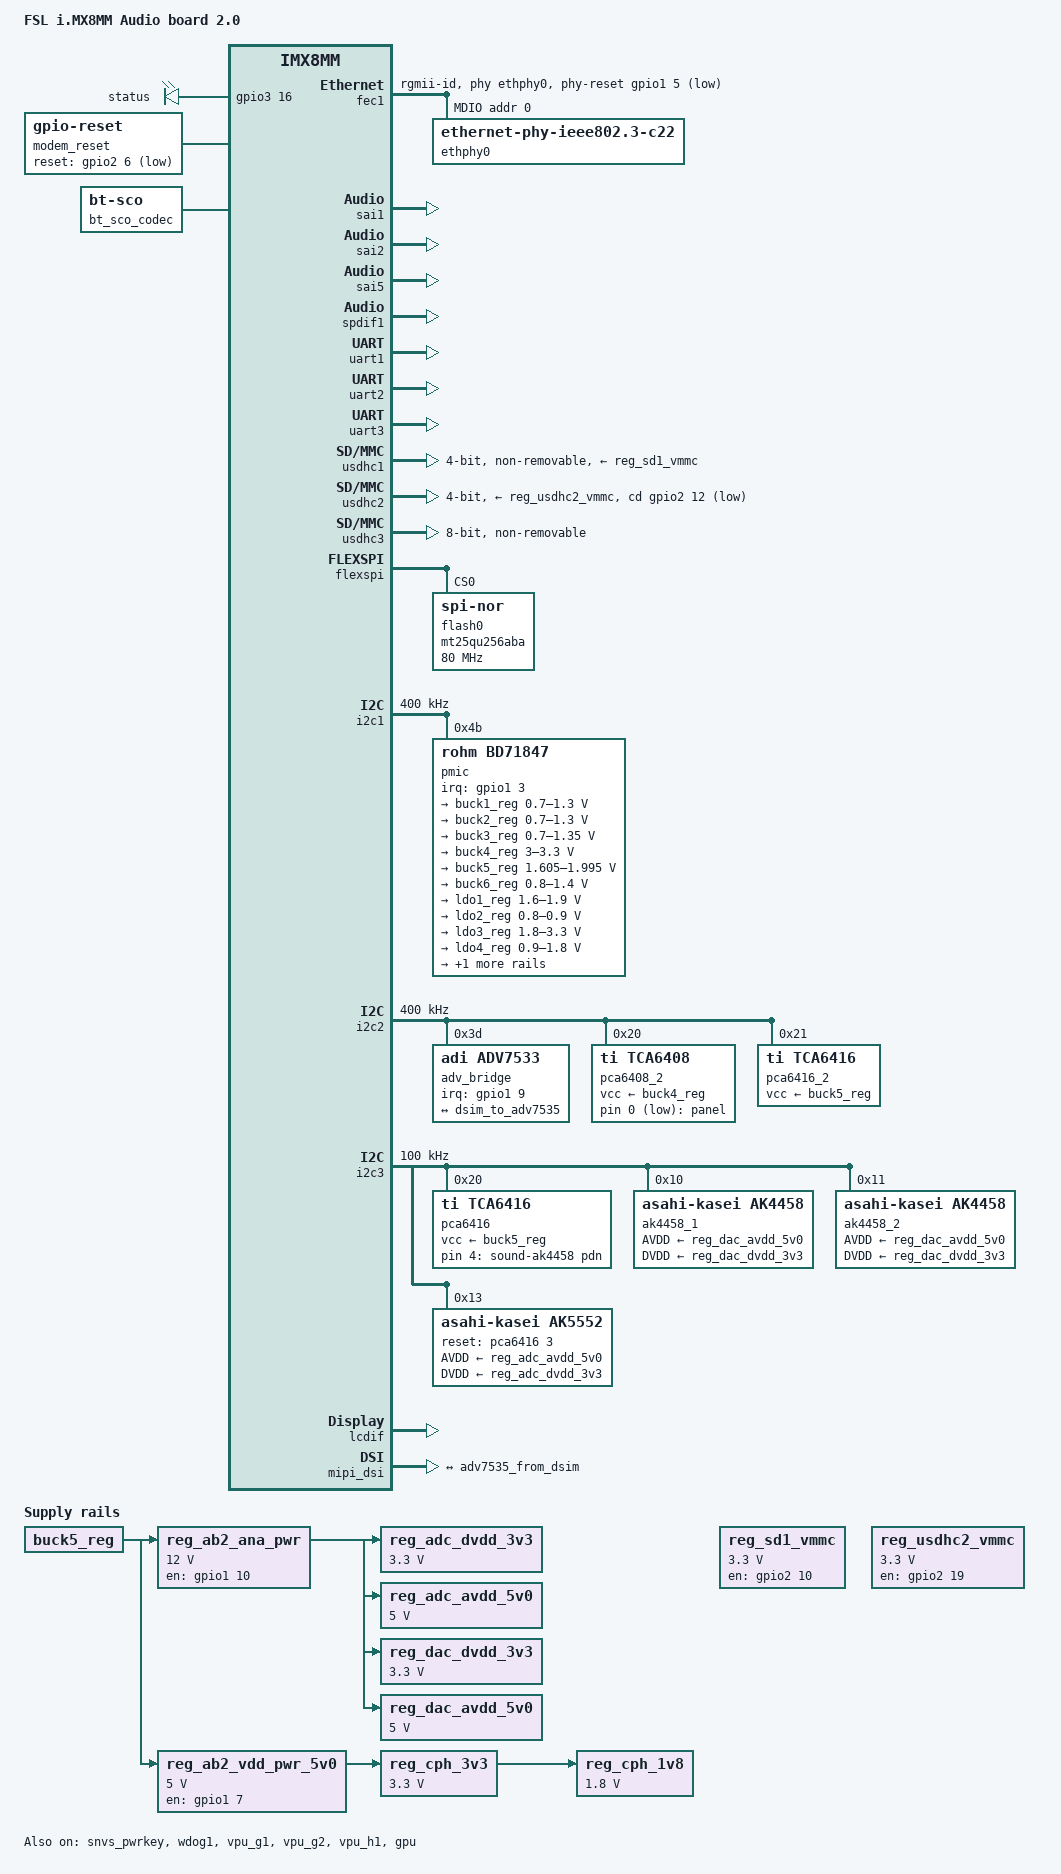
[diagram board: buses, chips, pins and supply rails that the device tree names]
// SPDX-License-Identifier: (GPL-2.0+ OR MIT)
/*
 * Copyright 2020 NXP
 */

/dts-v1/;

#include <dt-bindings/usb/pd.h>
#include "imx8mm.dtsi"

/ {
	model = "FSL i.MX8MM Audio board 2.0";
	compatible = "fsl,imx8mm-ab2", "fsl,imx8mm";

	reserved-memory {
		#address-cells = <2>;
		#size-cells = <2>;
		ranges;

		rpmsg_reserved: rpmsg@0xb8000000 {
			no-map;
			reg = <0 0xb8000000 0 0x400000>;
		};
	};

	chosen {
		stdout-path = &uart2;
	};

	leds {
		compatible = "gpio-leds";
		pinctrl-names = "default";
		pinctrl-0 = <&pinctrl_gpio_led>;

		status {
			label = "status";
			gpios = <&gpio3 16 GPIO_ACTIVE_HIGH>;
			default-state = "on";
		};

		panel {
			label = "panel";
			gpios = <&pca6408_2 0 GPIO_ACTIVE_LOW>;
			default-state = "on";
		};
	};

	modem_reset: modem-reset {
		compatible = "gpio-reset";
		reset-gpios = <&gpio2 6 GPIO_ACTIVE_LOW>;
		reset-delay-us = <2000>;
		reset-post-delay-ms = <40>;
		#reset-cells = <0>;
	};

	reg_sd1_vmmc: sd1_regulator {
		compatible = "regulator-fixed";
		regulator-name = "WLAN_EN";
		regulator-min-microvolt = <3300000>;
		regulator-max-microvolt = <3300000>;
		gpio = <&gpio2 10 GPIO_ACTIVE_HIGH>;
		off-on-delay-us = <20000>;
		startup-delay-us = <100>;
		enable-active-high;
	};

	reg_usdhc2_vmmc: regulator-usdhc2 {
		compatible = "regulator-fixed";
		pinctrl-names = "default";
		pinctrl-0 = <&pinctrl_reg_usdhc2_vmmc>;
		regulator-name = "VSD_3V3";
		regulator-min-microvolt = <3300000>;
		regulator-max-microvolt = <3300000>;
		gpio = <&gpio2 19 GPIO_ACTIVE_HIGH>;
		off-on-delay-us = <20000>;
		enable-active-high;
	};

	reg_ab2_ana_pwr: regulator-ab2-ana-pwr {
		compatible = "regulator-fixed";
		regulator-name = "ANA_12V0";
		pinctrl-names = "default";
		pinctrl-0 = <&pinctrl_ab2_ana_pwr>;
		regulator-min-microvolt = <12000000>;
		regulator-max-microvolt = <12000000>;
		gpio = <&gpio1 10 GPIO_ACTIVE_HIGH>;
		vin-supply = <&buck5_reg>;
		enable-active-high;
	};

	reg_ab2_vdd_pwr_5v0: regulator-ab2-vdd-pwr-5v0 {
		compatible = "regulator-fixed";
		regulator-name = "VDD_5V0";
		pinctrl-names = "default";
		pinctrl-0 = <&pinctrl_ab2_vdd_pwr_5v0>;
		regulator-min-microvolt = <5000000>;
		regulator-max-microvolt = <5000000>;
		gpio = <&gpio1 7 GPIO_ACTIVE_HIGH>;
		vin-supply = <&buck5_reg>;
		enable-active-high;
		regulator-always-on;
		regulator-boot-on;
	};

	reg_adc_dvdd_3v3: reg-adc-dvdd-3v3 {
		compatible = "regulator-fixed";
		regulator-name = "ADC_DVDD_3V3";
		regulator-min-microvolt = <3300000>;
		regulator-max-microvolt = <3300000>;
		vin-supply = <&reg_ab2_ana_pwr>;
	};

	reg_adc_avdd_5v0: reg-adc-avdd-5v0 {
		compatible = "regulator-fixed";
		regulator-name = "ADC_AVDD_5V0";
		regulator-min-microvolt = <5000000>;
		regulator-max-microvolt = <5000000>;
		vin-supply = <&reg_ab2_ana_pwr>;
	};

	reg_dac_dvdd_3v3: reg-dac-dvdd-3v3 {
		compatible = "regulator-fixed";
		regulator-name = "DAC_DVDD_3V3";
		regulator-min-microvolt = <3300000>;
		regulator-max-microvolt = <3300000>;
		vin-supply = <&reg_ab2_ana_pwr>;
	};

	reg_dac_avdd_5v0: reg-dac-avdd-5v0 {
		compatible = "regulator-fixed";
		regulator-name = "DAC_AVDD_5V0";
		regulator-min-microvolt = <5000000>;
		regulator-max-microvolt = <5000000>;
		vin-supply = <&reg_ab2_ana_pwr>;
	};

	reg_cph_3v3: reg-cph-3v3 {
		compatible = "regulator-fixed";
		regulator-name = "CPH_3V3";
		regulator-min-microvolt = <3300000>;
		regulator-max-microvolt = <3300000>;
		vin-supply = <&reg_ab2_vdd_pwr_5v0>;
	};

	reg_cph_1v8: reg-cph-1v8 {
		compatible = "regulator-fixed";
		regulator-name = "CPH_1V8";
		regulator-min-microvolt = <1800000>;
		regulator-max-microvolt = <1800000>;
		vin-supply = <&reg_cph_3v3>;
	};

	bt_sco_codec: bt_sco_codec {
		#sound-dai-cells = <0>;
		compatible = "linux,bt-sco";
	};

	sound-bt-sco {
		compatible = "simple-audio-card";
		simple-audio-card,name = "bt-sco-audio";
		simple-audio-card,format = "i2s";
		simple-audio-card,bitclock-inversion;
		simple-audio-card,frame-master = <&btcpu>;
		simple-audio-card,bitclock-master = <&btcpu>;

		btcpu: simple-audio-card,cpu {
			sound-dai = <&sai2>;
			dai-tdm-slot-num = <2>;
			dai-tdm-slot-width = <16>;
		};

		simple-audio-card,codec {
			sound-dai = <&bt_sco_codec>;
		};
	};

	sound-ak4458 {
		compatible = "fsl,imx-audio-ak4458";
		model = "ak4458-audio";
		audio-cpu = <&sai1>;
		audio-codec = <&ak4458_1>, <&ak4458_2>;
		ak4458,pdn-gpio = <&pca6416 4 GPIO_ACTIVE_HIGH>;
	};

	sound-ak5552 {
		compatible = "fsl,imx-audio-ak5552";
		model = "ak5552-audio";
		audio-cpu = <&sai5>;
		audio-codec = <&ak5552>;
	};

	sound-spdif {
		compatible = "fsl,imx-audio-spdif";
		model = "imx-spdif";
		spdif-controller = <&spdif1>;
		spdif-out;
		spdif-in;
	};
};

&A53_0 {
	cpu-supply = <&buck2_reg>;
};

&fec1 {
	pinctrl-names = "default";
	pinctrl-0 = <&pinctrl_fec1>;
	phy-mode = "rgmii-id";
	phy-handle = <&ethphy0>;
	phy-reset-gpios = <&gpio1 5 GPIO_ACTIVE_LOW>;
	phy-reset-post-delay = <150>;
	phy-reset-duration = <10>;
	fsl,magic-packet;
	status = "okay";

	mdio {
		#address-cells = <1>;
		#size-cells = <0>;

		ethphy0: ethernet-phy@0 {
			compatible = "ethernet-phy-ieee802.3-c22";
			reg = <0>;
			eee-broken-1000t;
		};
	};
};

&sai1 {
	pinctrl-names = "default", "dsd";
	pinctrl-0 = <&pinctrl_sai1>;
	pinctrl-1 = <&pinctrl_sai1_dsd>;
	assigned-clocks = <&clk IMX8MM_CLK_SAI1>;
	assigned-clock-parents = <&clk IMX8MM_AUDIO_PLL1_OUT>;
	assigned-clock-rates = <49152000>;
	clocks = <&clk IMX8MM_CLK_SAI1_IPG>, <&clk IMX8MM_CLK_DUMMY>,
		<&clk IMX8MM_CLK_SAI1_ROOT>, <&clk IMX8MM_CLK_DUMMY>,
		<&clk IMX8MM_CLK_DUMMY>, <&clk IMX8MM_AUDIO_PLL1_OUT>,
		<&clk IMX8MM_AUDIO_PLL2_OUT>;
	clock-names = "bus", "mclk0", "mclk1", "mclk2", "mclk3", "pll8k", "pll11k";
	fsl,sai-multi-lane;
	fsl,dataline,dsd = <0 0xff 0xff 2 0xff 0x11>;
	dmas = <&sdma2 0 25 0>, <&sdma2 1 25 0>;
	status = "okay";
};

&sai2 {
	#sound-dai-cells = <0>;
	pinctrl-names = "default";
	pinctrl-0 = <&pinctrl_sai2>;
	assigned-clocks = <&clk IMX8MM_CLK_SAI2>;
	assigned-clock-parents = <&clk IMX8MM_AUDIO_PLL1_OUT>;
	assigned-clock-rates = <24576000>;
	status = "okay";
};

&sai3 {
	pinctrl-names = "default";
	pinctrl-0 = <&pinctrl_sai3>;
	assigned-clocks = <&clk IMX8MM_CLK_SAI3>;
	assigned-clock-parents = <&clk IMX8MM_AUDIO_PLL1_OUT>;
	assigned-clock-rates = <49152000>;
	clocks = <&clk IMX8MM_CLK_SAI3_IPG>, <&clk IMX8MM_CLK_DUMMY>,
		<&clk IMX8MM_CLK_SAI3_ROOT>, <&clk IMX8MM_CLK_DUMMY>,
		<&clk IMX8MM_CLK_DUMMY>, <&clk IMX8MM_AUDIO_PLL1_OUT>,
		<&clk IMX8MM_AUDIO_PLL2_OUT>;
	clock-names = "bus", "mclk0", "mclk1", "mclk2", "mclk3", "pll8k", "pll11k";
	status = "disabled";
};

&sai5 {
	pinctrl-names = "default";
	pinctrl-0 = <&pinctrl_sai5>;
	assigned-clocks = <&clk IMX8MM_CLK_SAI5>;
	assigned-clock-parents = <&clk IMX8MM_AUDIO_PLL1_OUT>;
	assigned-clock-rates = <49152000>;
	clocks = <&clk IMX8MM_CLK_SAI5_IPG>, <&clk IMX8MM_CLK_DUMMY>,
		<&clk IMX8MM_CLK_SAI5_ROOT>, <&clk IMX8MM_CLK_DUMMY>,
		<&clk IMX8MM_CLK_DUMMY>, <&clk IMX8MM_AUDIO_PLL1_OUT>,
		<&clk IMX8MM_AUDIO_PLL2_OUT>;
	clock-names = "bus", "mclk0", "mclk1", "mclk2", "mclk3", "pll8k", "pll11k";
	fsl,sai-asynchronous;
	status = "okay";
};

&spdif1 {
	pinctrl-names = "default";
	pinctrl-0 = <&pinctrl_spdif1>;
	assigned-clocks = <&clk IMX8MM_CLK_SPDIF1>;
	assigned-clock-parents = <&clk IMX8MM_AUDIO_PLL1_OUT>;
	assigned-clock-rates = <24576000>;
	clocks = <&clk IMX8MM_CLK_AUDIO_AHB>, <&clk IMX8MM_CLK_24M>,
		<&clk IMX8MM_CLK_SPDIF1>, <&clk IMX8MM_CLK_DUMMY>,
		<&clk IMX8MM_CLK_DUMMY>, <&clk IMX8MM_CLK_DUMMY>,
		<&clk IMX8MM_CLK_AUDIO_AHB>, <&clk IMX8MM_CLK_DUMMY>,
		<&clk IMX8MM_CLK_DUMMY>, <&clk IMX8MM_CLK_DUMMY>,
		<&clk IMX8MM_AUDIO_PLL1_OUT>, <&clk IMX8MM_AUDIO_PLL2_OUT>;
	clock-names = "core", "rxtx0", "rxtx1", "rxtx2", "rxtx3",
		"rxtx4", "rxtx5", "rxtx6", "rxtx7", "spba", "pll8k", "pll11k";
	status = "okay";
};

&snvs_pwrkey {
	status = "okay";
};

&uart1 { /* BT */
	pinctrl-names = "default";
	pinctrl-0 = <&pinctrl_uart1>;
	assigned-clocks = <&clk IMX8MM_CLK_UART1>;
	assigned-clock-parents = <&clk IMX8MM_SYS_PLL1_80M>;
	fsl,uart-has-rtscts;
	resets = <&modem_reset>;
	status = "okay";
};

&uart2 { /* console */
	pinctrl-names = "default";
	pinctrl-0 = <&pinctrl_uart2>;
	status = "okay";
};

&uart3 {
	pinctrl-names = "default";
	pinctrl-0 = <&pinctrl_uart3>;
	assigned-clocks = <&clk IMX8MM_CLK_UART3>;
	assigned-clock-parents = <&clk IMX8MM_SYS_PLL1_80M>;
	fsl,uart-has-rtscts;
	status = "okay";
};

&usdhc1 {
	pinctrl-names = "default", "state_100mhz", "state_200mhz";
	pinctrl-0 = <&pinctrl_usdhc1>, <&pinctrl_usdhc1_gpio>;
	pinctrl-1 = <&pinctrl_usdhc1_100mhz>, <&pinctrl_usdhc1_gpio>;
	pinctrl-2 = <&pinctrl_usdhc1_200mhz>, <&pinctrl_usdhc1_gpio>;
	bus-width = <4>;
	vmmc-supply = <&reg_sd1_vmmc>;
	pm-ignore-notify;
	keep-power-in-suspend;
	non-removable;
	status = "okay";
};

&usdhc2 {
	pinctrl-names = "default", "state_100mhz", "state_200mhz";
	pinctrl-0 = <&pinctrl_usdhc2>, <&pinctrl_usdhc2_gpio>;
	pinctrl-1 = <&pinctrl_usdhc2_100mhz>, <&pinctrl_usdhc2_gpio>;
	pinctrl-2 = <&pinctrl_usdhc2_200mhz>, <&pinctrl_usdhc2_gpio>;
	cd-gpios = <&gpio2 12 GPIO_ACTIVE_LOW>;
	bus-width = <4>;
	vmmc-supply = <&reg_usdhc2_vmmc>;
	status = "okay";
};

&usdhc3 {
	pinctrl-names = "default", "state_100mhz", "state_200mhz";
	pinctrl-0 = <&pinctrl_usdhc3>;
	pinctrl-1 = <&pinctrl_usdhc3_100mhz>;
	pinctrl-2 = <&pinctrl_usdhc3_200mhz>;
	bus-width = <8>;
	non-removable;
	status = "okay";
};

&wdog1 {
	pinctrl-names = "default";
	pinctrl-0 = <&pinctrl_wdog>;
	fsl,ext-reset-output;
	status = "okay";
};

&flexspi {
	pinctrl-names = "default";
	pinctrl-0 = <&pinctrl_flexspi0>;
	status = "okay";

	flash0: mt25qu256aba@0 {
		reg = <0>;
		#address-cells = <1>;
		#size-cells = <1>;
		compatible = "jedec,spi-nor";
		spi-max-frequency = <80000000>;
		spi-tx-bus-width = <4>;
		spi-rx-bus-width = <4>;
	};
};

&i2c1 {
	clock-frequency = <400000>;
	pinctrl-names = "default";
	pinctrl-0 = <&pinctrl_i2c1>;
	status = "okay";

	pmic@4b {
		compatible = "rohm,bd71847";
		reg = <0x4b>;
		pinctrl-0 = <&pinctrl_pmic>;
		interrupt-parent = <&gpio1>;
		interrupts = <3 GPIO_ACTIVE_LOW>;
		rohm,reset-snvs-powered;

		regulators {
			buck1_reg: BUCK1 {
				regulator-name = "BUCK1";
				regulator-min-microvolt = <700000>;
				regulator-max-microvolt = <1300000>;
				regulator-boot-on;
				regulator-always-on;
				regulator-ramp-delay = <1250>;
			};

			buck2_reg: BUCK2 {
				regulator-name = "BUCK2";
				regulator-min-microvolt = <700000>;
				regulator-max-microvolt = <1300000>;
				regulator-boot-on;
				regulator-always-on;
				regulator-ramp-delay = <1250>;
				rohm,dvs-run-voltage = <1000000>;
				rohm,dvs-idle-voltage = <900000>;
			};

			buck3_reg: BUCK3 {
				// BUCK5 in datasheet
				regulator-name = "BUCK3";
				regulator-min-microvolt = <700000>;
				regulator-max-microvolt = <1350000>;
				regulator-boot-on;
				regulator-always-on;
			};

			buck4_reg: BUCK4 {
				// BUCK6 in datasheet
				regulator-name = "BUCK4";
				regulator-min-microvolt = <3000000>;
				regulator-max-microvolt = <3300000>;
				regulator-boot-on;
				regulator-always-on;
			};

			buck5_reg: BUCK5 {
				// BUCK7 in datasheet
				regulator-name = "BUCK5";
				regulator-min-microvolt = <1605000>;
				regulator-max-microvolt = <1995000>;
				regulator-boot-on;
				regulator-always-on;
			};

			buck6_reg: BUCK6 {
				// BUCK8 in datasheet
				regulator-name = "BUCK6";
				regulator-min-microvolt = <800000>;
				regulator-max-microvolt = <1400000>;
				regulator-boot-on;
				regulator-always-on;
			};

			ldo1_reg: LDO1 {
				regulator-name = "LDO1";
				regulator-min-microvolt = <1600000>;
				regulator-max-microvolt = <1900000>;
				regulator-boot-on;
				regulator-always-on;
			};

			ldo2_reg: LDO2 {
				regulator-name = "LDO2";
				regulator-min-microvolt = <800000>;
				regulator-max-microvolt = <900000>;
				regulator-boot-on;
				regulator-always-on;
			};

			ldo3_reg: LDO3 {
				regulator-name = "LDO3";
				regulator-min-microvolt = <1800000>;
				regulator-max-microvolt = <3300000>;
				regulator-boot-on;
				regulator-always-on;
			};

			ldo4_reg: LDO4 {
				regulator-name = "LDO4";
				regulator-min-microvolt = <900000>;
				regulator-max-microvolt = <1800000>;
				regulator-boot-on;
				regulator-always-on;
			};

			ldo6_reg: LDO6 {
				regulator-name = "LDO6";
				regulator-min-microvolt = <900000>;
				regulator-max-microvolt = <1800000>;
				regulator-boot-on;
				regulator-always-on;
			};
		};
	};
};

&i2c2 {
	clock-frequency = <400000>;
	pinctrl-names = "default";
	pinctrl-0 = <&pinctrl_i2c2>;
	status = "okay";

	adv_bridge: adv7535@3d {
		compatible = "adi,adv7533";
		reg = <0x3d>;
		adi,addr-cec = <0x3b>;
		adi,dsi-lanes = <4>;
		pinctrl-names = "default";
		pinctrl-0 = <&pinctrl_i2c2_synaptics_dsx_io>;
		interrupt-parent = <&gpio1>;
		interrupts = <9 IRQ_TYPE_LEVEL_LOW>;
		status = "okay";

		port {
			adv7535_from_dsim: endpoint {
				remote-endpoint = <&dsim_to_adv7535>;
			};
		};
	};

	pca6408_2: gpio@20 {
		compatible = "ti,tca6408";
		reg = <0x20>;
		gpio-controller;
		#gpio-cells = <2>;
		vcc-supply = <&buck4_reg>;
	};

	pca6416_2: gpio@21 {
		compatible = "ti,tca6416";
		reg = <0x21>;
		gpio-controller;
		#gpio-cells = <2>;
		vcc-supply = <&buck5_reg>;
	};
};

&i2c3 {
	clock-frequency = <100000>;
	pinctrl-names = "default";
	pinctrl-0 = <&pinctrl_i2c3>;
	status = "okay";

	pca6416: gpio@20 {
		compatible = "ti,tca6416";
		reg = <0x20>;
		gpio-controller;
		#gpio-cells = <2>;
		vcc-supply = <&buck5_reg>;
	};

	ak4458_1: ak4458@10 {
		compatible = "asahi-kasei,ak4458";
		reg = <0x10>;
		AVDD-supply = <&reg_dac_avdd_5v0>;
		DVDD-supply = <&reg_dac_dvdd_3v3>;
	};

	ak4458_2: ak4458@11 {
		compatible = "asahi-kasei,ak4458";
		reg = <0x11>;
		AVDD-supply = <&reg_dac_avdd_5v0>;
		DVDD-supply = <&reg_dac_dvdd_3v3>;
	};

	ak4458_3: ak4458@12 {
		compatible = "asahi-kasei,ak4458";
		reg = <0x12>;
		AVDD-supply = <&reg_dac_avdd_5v0>;
		DVDD-supply = <&reg_dac_dvdd_3v3>;
		status = "disabled";
	};

	ak5552: ak5552@13 {
		compatible = "asahi-kasei,ak5552";
		reg = <0x13>;
		reset-gpios = <&pca6416 3 GPIO_ACTIVE_HIGH>;
		AVDD-supply = <&reg_adc_avdd_5v0>;
		DVDD-supply = <&reg_adc_dvdd_3v3>;
	};
};

&i2c4 {
	clock-frequency = <400000>;
	pinctrl-names = "default";
	pinctrl-0 = <&pinctrl_i2c4>;
	status = "disabled";
};

&iomuxc {
	pinctrl-names = "default";

	pinctrl_fec1: fec1grp {
		fsl,pins = <
			MX8MM_IOMUXC_ENET_MDC_ENET1_MDC			0x3
			MX8MM_IOMUXC_ENET_MDIO_ENET1_MDIO		0x3
			MX8MM_IOMUXC_ENET_TD3_ENET1_RGMII_TD3		0x1f
			MX8MM_IOMUXC_ENET_TD2_ENET1_RGMII_TD2		0x1f
			MX8MM_IOMUXC_ENET_TD1_ENET1_RGMII_TD1		0x1f
			MX8MM_IOMUXC_ENET_TD0_ENET1_RGMII_TD0		0x1f
			MX8MM_IOMUXC_ENET_RD3_ENET1_RGMII_RD3		0x91
			MX8MM_IOMUXC_ENET_RD2_ENET1_RGMII_RD2		0x91
			MX8MM_IOMUXC_ENET_RD1_ENET1_RGMII_RD1		0x91
			MX8MM_IOMUXC_ENET_RD0_ENET1_RGMII_RD0		0x91
			MX8MM_IOMUXC_ENET_TXC_ENET1_RGMII_TXC		0x1f
			MX8MM_IOMUXC_ENET_RXC_ENET1_RGMII_RXC		0x91
			MX8MM_IOMUXC_ENET_RX_CTL_ENET1_RGMII_RX_CTL	0x91
			MX8MM_IOMUXC_ENET_TX_CTL_ENET1_RGMII_TX_CTL	0x1f
			MX8MM_IOMUXC_GPIO1_IO05_GPIO1_IO5		0x19	/* ENET_PHY_RST_B */
			MX8MM_IOMUXC_GPIO1_IO11_GPIO1_IO11		0x19	/* ENET_PHY_INT_B */
		>;
	};

	pinctrl_flexspi0: flexspi0grp {
		fsl,pins = <
			MX8MM_IOMUXC_NAND_ALE_QSPI_A_SCLK               0x1c2
			MX8MM_IOMUXC_NAND_CE0_B_QSPI_A_SS0_B            0x82
			MX8MM_IOMUXC_NAND_DATA00_QSPI_A_DATA0           0x82
			MX8MM_IOMUXC_NAND_DATA01_QSPI_A_DATA1           0x82
			MX8MM_IOMUXC_NAND_DATA02_QSPI_A_DATA2           0x82
			MX8MM_IOMUXC_NAND_DATA03_QSPI_A_DATA3           0x82
		>;
	};

	pinctrl_gpio_led: gpioledgrp {
		fsl,pins = <
			MX8MM_IOMUXC_NAND_READY_B_GPIO3_IO16	0x19
		>;
	};

	pinctrl_i2c1: i2c1grp {
		fsl,pins = <
			MX8MM_IOMUXC_I2C1_SCL_I2C1_SCL			0x400001c3
			MX8MM_IOMUXC_I2C1_SDA_I2C1_SDA			0x400001c3
		>;
	};

	pinctrl_i2c2: i2c2grp {
		fsl,pins = <
			MX8MM_IOMUXC_I2C2_SCL_I2C2_SCL			0x400001c3
			MX8MM_IOMUXC_I2C2_SDA_I2C2_SDA			0x400001c3
		>;
	};

	pinctrl_i2c3: i2c3grp {
		fsl,pins = <
			MX8MM_IOMUXC_I2C3_SCL_I2C3_SCL			0x400001c3
			MX8MM_IOMUXC_I2C3_SDA_I2C3_SDA			0x400001c3
		>;
	};

	pinctrl_i2c4: i2c4grp {
		fsl,pins = <
			MX8MM_IOMUXC_I2C4_SCL_I2C4_SCL			0x400001c3
			MX8MM_IOMUXC_I2C4_SDA_I2C4_SDA			0x400001c3
		>;
	};

	pinctrl_mipi_dsi_en: mipi_dsi_en {
		fsl,pins = <
			MX8MM_IOMUXC_GPIO1_IO08_GPIO1_IO8	0x16
		>;
	};

	pinctrl_i2c2_synaptics_dsx_io: synaptics_dsx_iogrp {
		fsl,pins = <
			MX8MM_IOMUXC_GPIO1_IO09_GPIO1_IO9	0x19 /* Touch interrupt */
		>;
	};

	pinctrl_pmic: pmicirq {
		fsl,pins = <
			MX8MM_IOMUXC_GPIO1_IO03_GPIO1_IO3		0x41
		>;
	};

	pinctrl_ab2_ana_pwr: ab2anapwrgrp {
		fsl,pins = <
			MX8MM_IOMUXC_GPIO1_IO10_GPIO1_IO10	0x41
		>;
	};

	pinctrl_ab2_vdd_pwr_5v0: ab2vddpwr5v0grp {
		fsl,pins = <
			MX8MM_IOMUXC_GPIO1_IO07_GPIO1_IO7	0x41
		>;
	};

	pinctrl_reg_usdhc2_vmmc: regusdhc2vmmc {
		fsl,pins = <
			MX8MM_IOMUXC_SD2_RESET_B_GPIO2_IO19	0x41
		>;
	};

	pinctrl_sai1: sai1grp {
		fsl,pins = <
			MX8MM_IOMUXC_SAI1_MCLK_SAI1_MCLK	0xd6
			MX8MM_IOMUXC_SAI1_TXFS_SAI1_TX_SYNC	0xd6
			MX8MM_IOMUXC_SAI1_RXD7_SAI1_TX_SYNC	0xd6
			MX8MM_IOMUXC_SAI1_TXC_SAI1_TX_BCLK	0xd6
			MX8MM_IOMUXC_SAI1_TXD0_SAI1_TX_DATA0	0xd6
			MX8MM_IOMUXC_SAI1_TXD1_SAI1_TX_DATA1	0xd6
			MX8MM_IOMUXC_SAI1_TXD2_SAI1_TX_DATA2	0xd6
			MX8MM_IOMUXC_SAI1_TXD3_SAI1_TX_DATA3	0xd6
			MX8MM_IOMUXC_SAI1_TXD4_SAI1_TX_DATA4	0xd6
			MX8MM_IOMUXC_SAI1_TXD5_SAI1_TX_DATA5	0xd6
			MX8MM_IOMUXC_SAI1_TXD6_SAI1_TX_DATA6	0xd6
			MX8MM_IOMUXC_SAI1_TXD7_SAI1_TX_DATA7	0xd6
			MX8MM_IOMUXC_SAI1_RXD0_SAI1_RX_DATA0	0xd6
			MX8MM_IOMUXC_SAI1_RXD1_SAI1_RX_DATA1	0xd6
			MX8MM_IOMUXC_SAI1_RXD2_SAI1_RX_DATA2	0xd6
			MX8MM_IOMUXC_SAI1_RXD3_SAI1_RX_DATA3	0xd6
			MX8MM_IOMUXC_SAI1_RXD5_SAI1_RX_SYNC	0xd6
			MX8MM_IOMUXC_SAI1_RXC_SAI1_RX_BCLK	0xd6
		>;
	};

	pinctrl_sai1_dsd: sai1grp_dsd {
		fsl,pins = <
			MX8MM_IOMUXC_SAI1_MCLK_SAI1_MCLK	0xd6
			MX8MM_IOMUXC_SAI1_TXFS_SAI1_TX_SYNC	0xd6
			MX8MM_IOMUXC_SAI1_TXC_SAI1_TX_BCLK	0xd6
			MX8MM_IOMUXC_SAI1_TXD0_SAI1_TX_DATA0	0xd6
			MX8MM_IOMUXC_SAI1_TXD1_SAI1_TX_DATA1	0xd6
			MX8MM_IOMUXC_SAI1_TXD2_SAI1_TX_DATA2	0xd6
			MX8MM_IOMUXC_SAI1_TXD3_SAI1_TX_DATA3	0xd6
			MX8MM_IOMUXC_SAI1_TXD4_SAI1_TX_DATA4	0xd6
			MX8MM_IOMUXC_SAI1_TXD5_SAI1_TX_DATA5	0xd6
			MX8MM_IOMUXC_SAI1_TXD6_SAI1_TX_DATA6	0xd6
			MX8MM_IOMUXC_SAI1_TXD7_SAI1_TX_DATA7	0xd6
			MX8MM_IOMUXC_SAI1_RXD0_SAI1_RX_DATA0	0xd6
			MX8MM_IOMUXC_SAI1_RXD1_SAI1_RX_DATA1	0xd6
			MX8MM_IOMUXC_SAI1_RXD2_SAI1_RX_DATA2	0xd6
			MX8MM_IOMUXC_SAI1_RXD3_SAI1_RX_DATA3	0xd6
			MX8MM_IOMUXC_SAI1_RXD5_SAI1_RX_SYNC	0xd6
			MX8MM_IOMUXC_SAI1_RXC_SAI1_RX_BCLK	0xd6
		>;
	};

	pinctrl_sai2: sai2grp {
		fsl,pins = <
			MX8MM_IOMUXC_SAI2_TXC_SAI2_TX_BCLK      0xd6
			MX8MM_IOMUXC_SAI2_TXFS_SAI2_TX_SYNC     0xd6
			MX8MM_IOMUXC_SAI2_TXD0_SAI2_TX_DATA0    0xd6
			MX8MM_IOMUXC_SAI2_RXD0_SAI2_RX_DATA0    0xd6
		>;
	};

	pinctrl_sai3: sai3grp {
		fsl,pins = <
			MX8MM_IOMUXC_SAI3_MCLK_SAI3_MCLK	0xd6
			MX8MM_IOMUXC_SAI3_RXC_SAI3_RX_BCLK	0xd6
			MX8MM_IOMUXC_SAI3_RXFS_SAI3_RX_SYNC	0xd6
			MX8MM_IOMUXC_SAI3_RXD_SAI3_RX_DATA0	0xd6
		>;
	};

	pinctrl_sai5: sai5grp {
		fsl,pins = <
			MX8MM_IOMUXC_SAI5_MCLK_SAI5_MCLK	0xd6
			MX8MM_IOMUXC_SAI5_RXC_SAI5_RX_BCLK	0xd6
			MX8MM_IOMUXC_SAI5_RXFS_SAI5_RX_SYNC	0xd6
			MX8MM_IOMUXC_SAI5_RXD0_SAI5_RX_DATA0	0xd6
			MX8MM_IOMUXC_SAI5_RXD2_SAI5_TX_BCLK	0xd6
			MX8MM_IOMUXC_SAI5_RXD1_SAI5_TX_SYNC	0xd6
			MX8MM_IOMUXC_SAI5_RXD3_SAI5_TX_DATA0	0xd6
		>;
	};

	pinctrl_spdif1: spdif1grp {
		fsl,pins = <
			MX8MM_IOMUXC_SPDIF_TX_SPDIF1_OUT	0xd6
			MX8MM_IOMUXC_SPDIF_RX_SPDIF1_IN		0xd6
		>;
	};

	pinctrl_uart1: uart1grp {
		fsl,pins = <
			MX8MM_IOMUXC_UART1_RXD_UART1_DCE_RX	0x140
			MX8MM_IOMUXC_UART1_TXD_UART1_DCE_TX	0x140
			MX8MM_IOMUXC_UART3_RXD_UART1_DCE_CTS_B	0x140
			MX8MM_IOMUXC_UART3_TXD_UART1_DCE_RTS_B	0x140
			MX8MM_IOMUXC_SD1_DATA4_GPIO2_IO6	0x19
		>;
	};

	pinctrl_uart2: uart2grp {
		fsl,pins = <
			MX8MM_IOMUXC_UART2_RXD_UART2_DCE_RX	0x140
			MX8MM_IOMUXC_UART2_TXD_UART2_DCE_TX	0x140
		>;
	};

	pinctrl_uart3: uart3grp {
		fsl,pins = <
			MX8MM_IOMUXC_ECSPI1_SCLK_UART3_DCE_RX		0x140
			MX8MM_IOMUXC_ECSPI1_MOSI_UART3_DCE_TX		0x140
			MX8MM_IOMUXC_ECSPI1_SS0_UART3_DCE_RTS_B		0x140
			MX8MM_IOMUXC_ECSPI1_MISO_UART3_DCE_CTS_B	0x140
		>;
	};

	pinctrl_usdhc1_gpio: usdhc1grpgpio {
		fsl,pins = <
			MX8MM_IOMUXC_SD1_RESET_B_GPIO2_IO10	0x41
		>;
	};

	pinctrl_usdhc1: usdhc1grp {
		fsl,pins = <
			MX8MM_IOMUXC_SD1_CLK_USDHC1_CLK		0x190
			MX8MM_IOMUXC_SD1_CMD_USDHC1_CMD		0x1d0
			MX8MM_IOMUXC_SD1_DATA0_USDHC1_DATA0	0x1d0
			MX8MM_IOMUXC_SD1_DATA1_USDHC1_DATA1	0x1d0
			MX8MM_IOMUXC_SD1_DATA2_USDHC1_DATA2	0x1d0
			MX8MM_IOMUXC_SD1_DATA3_USDHC1_DATA3	0x1d0
		>;
	};

	pinctrl_usdhc1_100mhz: usdhc1grp100mhz {
		fsl,pins = <
			MX8MM_IOMUXC_SD1_CLK_USDHC1_CLK		0x194
			MX8MM_IOMUXC_SD1_CMD_USDHC1_CMD		0x1d4
			MX8MM_IOMUXC_SD1_DATA0_USDHC1_DATA0	0x1d4
			MX8MM_IOMUXC_SD1_DATA1_USDHC1_DATA1	0x1d4
			MX8MM_IOMUXC_SD1_DATA2_USDHC1_DATA2	0x1d4
			MX8MM_IOMUXC_SD1_DATA3_USDHC1_DATA3	0x1d4
		>;
	};

	pinctrl_usdhc1_200mhz: usdhc1grp200mhz {
		fsl,pins = <
			MX8MM_IOMUXC_SD1_CLK_USDHC1_CLK		0x196
			MX8MM_IOMUXC_SD1_CMD_USDHC1_CMD		0x1d6
			MX8MM_IOMUXC_SD1_DATA0_USDHC1_DATA0	0x1d6
			MX8MM_IOMUXC_SD1_DATA1_USDHC1_DATA1	0x1d6
			MX8MM_IOMUXC_SD1_DATA2_USDHC1_DATA2	0x1d6
			MX8MM_IOMUXC_SD1_DATA3_USDHC1_DATA3	0x1d6
		>;
	};

	pinctrl_usdhc2_gpio: usdhc2grpgpio {
		fsl,pins = <
			MX8MM_IOMUXC_SD2_CD_B_GPIO2_IO12	0x1c4
		>;
	};

	pinctrl_usdhc2: usdhc2grp {
		fsl,pins = <
			MX8MM_IOMUXC_SD2_CLK_USDHC2_CLK		0x190
			MX8MM_IOMUXC_SD2_CMD_USDHC2_CMD		0x1d0
			MX8MM_IOMUXC_SD2_DATA0_USDHC2_DATA0	0x1d0
			MX8MM_IOMUXC_SD2_DATA1_USDHC2_DATA1	0x1d0
			MX8MM_IOMUXC_SD2_DATA2_USDHC2_DATA2	0x1d0
			MX8MM_IOMUXC_SD2_DATA3_USDHC2_DATA3	0x1d0
			MX8MM_IOMUXC_GPIO1_IO04_USDHC2_VSELECT	0x1d0
		>;
	};

	pinctrl_usdhc2_100mhz: usdhc2grp100mhz {
		fsl,pins = <
			MX8MM_IOMUXC_SD2_CLK_USDHC2_CLK		0x194
			MX8MM_IOMUXC_SD2_CMD_USDHC2_CMD		0x1d4
			MX8MM_IOMUXC_SD2_DATA0_USDHC2_DATA0	0x1d4
			MX8MM_IOMUXC_SD2_DATA1_USDHC2_DATA1	0x1d4
			MX8MM_IOMUXC_SD2_DATA2_USDHC2_DATA2	0x1d4
			MX8MM_IOMUXC_SD2_DATA3_USDHC2_DATA3	0x1d4
			MX8MM_IOMUXC_GPIO1_IO04_USDHC2_VSELECT	0x1d0
		>;
	};

	pinctrl_usdhc2_200mhz: usdhc2grp200mhz {
		fsl,pins = <
			MX8MM_IOMUXC_SD2_CLK_USDHC2_CLK		0x196
			MX8MM_IOMUXC_SD2_CMD_USDHC2_CMD		0x1d6
			MX8MM_IOMUXC_SD2_DATA0_USDHC2_DATA0	0x1d6
			MX8MM_IOMUXC_SD2_DATA1_USDHC2_DATA1	0x1d6
			MX8MM_IOMUXC_SD2_DATA2_USDHC2_DATA2	0x1d6
			MX8MM_IOMUXC_SD2_DATA3_USDHC2_DATA3	0x1d6
			MX8MM_IOMUXC_GPIO1_IO04_USDHC2_VSELECT	0x1d0
		>;
	};

	pinctrl_usdhc3: usdhc3grp {
		fsl,pins = <
			MX8MM_IOMUXC_NAND_WE_B_USDHC3_CLK	0x190
			MX8MM_IOMUXC_NAND_WP_B_USDHC3_CMD	0x1d0
			MX8MM_IOMUXC_NAND_DATA04_USDHC3_DATA0	0x1d0
			MX8MM_IOMUXC_NAND_DATA05_USDHC3_DATA1	0x1d0
			MX8MM_IOMUXC_NAND_DATA06_USDHC3_DATA2	0x1d0
			MX8MM_IOMUXC_NAND_DATA07_USDHC3_DATA3	0x1d0
			MX8MM_IOMUXC_NAND_RE_B_USDHC3_DATA4	0x1d0
			MX8MM_IOMUXC_NAND_CE2_B_USDHC3_DATA5	0x1d0
			MX8MM_IOMUXC_NAND_CE3_B_USDHC3_DATA6	0x1d0
			MX8MM_IOMUXC_NAND_CLE_USDHC3_DATA7	0x1d0
			MX8MM_IOMUXC_NAND_CE1_B_USDHC3_STROBE 	0x190
		>;
	};

	pinctrl_usdhc3_100mhz: usdhc3grp100mhz {
		fsl,pins = <
			MX8MM_IOMUXC_NAND_WE_B_USDHC3_CLK	0x194
			MX8MM_IOMUXC_NAND_WP_B_USDHC3_CMD	0x1d4
			MX8MM_IOMUXC_NAND_DATA04_USDHC3_DATA0	0x1d4
			MX8MM_IOMUXC_NAND_DATA05_USDHC3_DATA1	0x1d4
			MX8MM_IOMUXC_NAND_DATA06_USDHC3_DATA2	0x1d4
			MX8MM_IOMUXC_NAND_DATA07_USDHC3_DATA3	0x1d4
			MX8MM_IOMUXC_NAND_RE_B_USDHC3_DATA4	0x1d4
			MX8MM_IOMUXC_NAND_CE2_B_USDHC3_DATA5	0x1d4
			MX8MM_IOMUXC_NAND_CE3_B_USDHC3_DATA6	0x1d4
			MX8MM_IOMUXC_NAND_CLE_USDHC3_DATA7	0x1d4
			MX8MM_IOMUXC_NAND_CE1_B_USDHC3_STROBE 	0x194
		>;
	};

	pinctrl_usdhc3_200mhz: usdhc3grp200mhz {
		fsl,pins = <
			MX8MM_IOMUXC_NAND_WE_B_USDHC3_CLK	0x196
			MX8MM_IOMUXC_NAND_WP_B_USDHC3_CMD	0x1d6
			MX8MM_IOMUXC_NAND_DATA04_USDHC3_DATA0	0x1d6
			MX8MM_IOMUXC_NAND_DATA05_USDHC3_DATA1	0x1d6
			MX8MM_IOMUXC_NAND_DATA06_USDHC3_DATA2	0x1d6
			MX8MM_IOMUXC_NAND_DATA07_USDHC3_DATA3	0x1d6
			MX8MM_IOMUXC_NAND_RE_B_USDHC3_DATA4	0x1d6
			MX8MM_IOMUXC_NAND_CE2_B_USDHC3_DATA5	0x1d6
			MX8MM_IOMUXC_NAND_CE3_B_USDHC3_DATA6	0x1d6
			MX8MM_IOMUXC_NAND_CLE_USDHC3_DATA7	0x1d6
			MX8MM_IOMUXC_NAND_CE1_B_USDHC3_STROBE 	0x196
		>;
	};

	pinctrl_wdog: wdoggrp {
		fsl,pins = <
			MX8MM_IOMUXC_GPIO1_IO02_WDOG1_WDOG_B	0xc6
		>;
	};
};

&lcdif {
	status = "okay";
};

&mipi_dsi {
	status = "okay";

	port@1 {
		dsim_to_adv7535: endpoint {
			remote-endpoint = <&adv7535_from_dsim>;
			attach-bridge;
		};
	};
};

&vpu_g1 {
	status = "okay";
};

&vpu_g2 {
	status = "okay";
};

&vpu_h1 {
	status = "okay";
};

&gpu {
	status = "okay";
};
